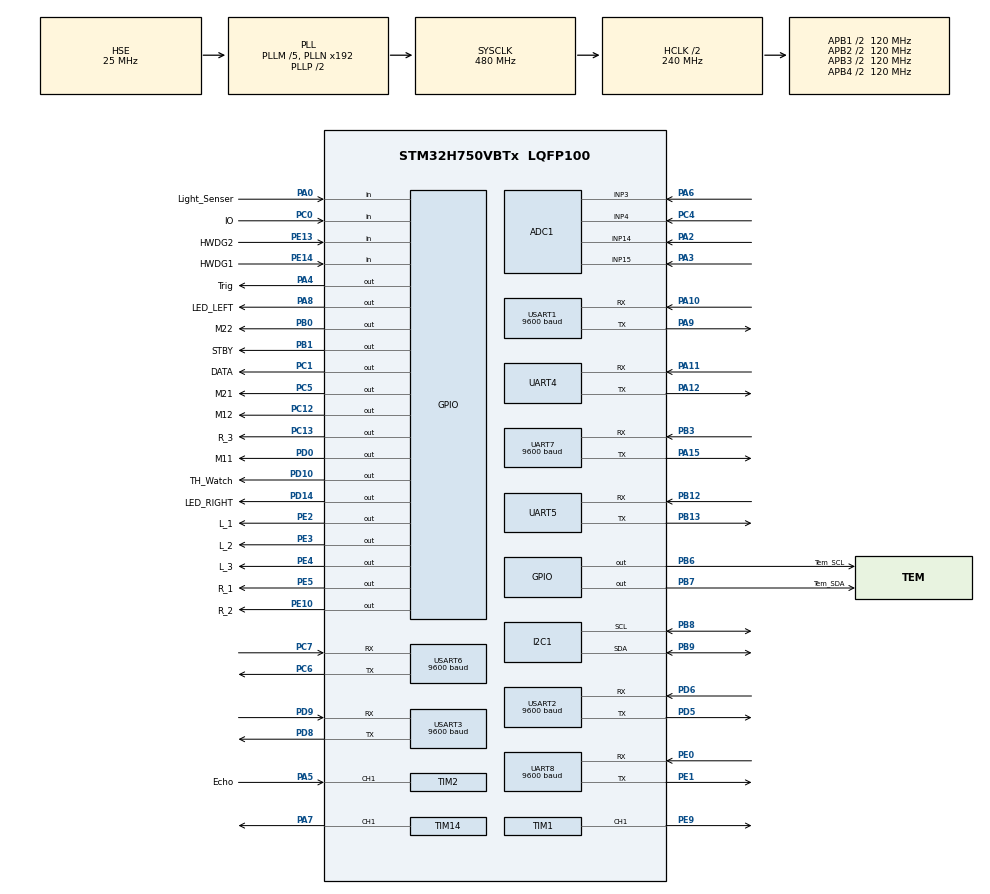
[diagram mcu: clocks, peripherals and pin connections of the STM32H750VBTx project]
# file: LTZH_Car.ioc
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ADC1.Channel-10\#ChannelRegularConversion=ADC_CHANNEL_4
ADC1.Channel-7\#ChannelRegularConversion=ADC_CHANNEL_14
ADC1.Channel-8\#ChannelRegularConversion=ADC_CHANNEL_15
ADC1.Channel-9\#ChannelRegularConversion=ADC_CHANNEL_3
ADC1.ClockPrescaler=ADC_CLOCK_ASYNC_DIV2
ADC1.ContinuousConvMode=ENABLE
ADC1.ConversionDataManagement=ADC_CONVERSIONDATA_DMA_CIRCULAR
ADC1.NbrOfConversion=4
ADC1.NbrOfConversionFlag=1
ADC1.OffsetNumber-10\#ChannelRegularConversion=ADC_OFFSET_NONE
ADC1.OffsetNumber-7\#ChannelRegularConversion=ADC_OFFSET_NONE
ADC1.OffsetNumber-8\#ChannelRegularConversion=ADC_OFFSET_NONE
ADC1.OffsetNumber-9\#ChannelRegularConversion=ADC_OFFSET_NONE
ADC1.OffsetSignedSaturation-10\#ChannelRegularConversion=DISABLE
ADC1.OffsetSignedSaturation-7\#ChannelRegularConversion=DISABLE
ADC1.OffsetSignedSaturation-8\#ChannelRegularConversion=DISABLE
ADC1.OffsetSignedSaturation-9\#ChannelRegularConversion=DISABLE
ADC1.Overrun=ADC_OVR_DATA_OVERWRITTEN
ADC1.Rank-10\#ChannelRegularConversion=4
ADC1.Rank-7\#ChannelRegularConversion=1
ADC1.Rank-8\#ChannelRegularConversion=2
ADC1.Rank-9\#ChannelRegularConversion=3
ADC1.SamplingTime-10\#ChannelRegularConversion=ADC_SAMPLETIME_32CYCLES_5
ADC1.SamplingTime-7\#ChannelRegularConversion=ADC_SAMPLETIME_32CYCLES_5
ADC1.SamplingTime-8\#ChannelRegularConversion=ADC_SAMPLETIME_32CYCLES_5
ADC1.SamplingTime-9\#ChannelRegularConversion=ADC_SAMPLETIME_32CYCLES_5
ADC1.master=1
CORTEX_M7.default_mode_Activation=1
Dma.ADC1.2.Direction=DMA_PERIPH_TO_MEMORY
Dma.ADC1.2.EventEnable=DISABLE
Dma.ADC1.2.FIFOMode=DMA_FIFOMODE_DISABLE
Dma.ADC1.2.Instance=DMA1_Stream0
Dma.ADC1.2.MemDataAlignment=DMA_MDATAALIGN_HALFWORD
Dma.ADC1.2.MemInc=DMA_MINC_ENABLE
Dma.ADC1.2.Mode=DMA_CIRCULAR
Dma.ADC1.2.PeriphDataAlignment=DMA_PDATAALIGN_HALFWORD
Dma.ADC1.2.PeriphInc=DMA_PINC_DISABLE
Dma.ADC1.2.Polarity=HAL_DMAMUX_REQ_GEN_RISING
Dma.ADC1.2.Priority=DMA_PRIORITY_LOW
Dma.ADC1.2.RequestNumber=1
Dma.ADC1.2.SignalID=NONE
Dma.ADC1.2.SyncEnable=DISABLE
Dma.ADC1.2.SyncPolarity=HAL_DMAMUX_SYNC_NO_EVENT
Dma.ADC1.2.SyncRequestNumber=1
Dma.ADC1.2.SyncSignalID=NONE
Dma.Request0=USART6_RX
Dma.Request1=UART5_RX
Dma.Request2=ADC1
Dma.UART5_RX.1.Direction=DMA_PERIPH_TO_MEMORY
Dma.UART5_RX.1.EventEnable=DISABLE
Dma.UART5_RX.1.FIFOMode=DMA_FIFOMODE_DISABLE
Dma.UART5_RX.1.Instance=DMA1_Stream1
Dma.UART5_RX.1.MemDataAlignment=DMA_MDATAALIGN_BYTE
Dma.UART5_RX.1.MemInc=DMA_MINC_ENABLE
Dma.UART5_RX.1.Mode=DMA_NORMAL
Dma.UART5_RX.1.PeriphDataAlignment=DMA_PDATAALIGN_BYTE
Dma.UART5_RX.1.PeriphInc=DMA_PINC_DISABLE
Dma.UART5_RX.1.Polarity=HAL_DMAMUX_REQ_GEN_RISING
Dma.UART5_RX.1.Priority=DMA_PRIORITY_LOW
Dma.UART5_RX.1.RequestNumber=1
Dma.UART5_RX.1.SignalID=NONE
Dma.UART5_RX.1.SyncEnable=DISABLE
Dma.UART5_RX.1.SyncPolarity=HAL_DMAMUX_SYNC_NO_EVENT
Dma.UART5_RX.1.SyncRequestNumber=1
Dma.UART5_RX.1.SyncSignalID=NONE
Dma.USART6_RX.0.Direction=DMA_PERIPH_TO_MEMORY
Dma.USART6_RX.0.EventEnable=DISABLE
Dma.USART6_RX.0.FIFOMode=DMA_FIFOMODE_DISABLE
Dma.USART6_RX.0.Instance=DMA1_Stream2
Dma.USART6_RX.0.MemDataAlignment=DMA_MDATAALIGN_BYTE
Dma.USART6_RX.0.MemInc=DMA_MINC_ENABLE
Dma.USART6_RX.0.Mode=DMA_NORMAL
Dma.USART6_RX.0.PeriphDataAlignment=DMA_PDATAALIGN_BYTE
Dma.USART6_RX.0.PeriphInc=DMA_PINC_DISABLE
Dma.USART6_RX.0.Polarity=HAL_DMAMUX_REQ_GEN_RISING
Dma.USART6_RX.0.Priority=DMA_PRIORITY_LOW
Dma.USART6_RX.0.RequestNumber=1
Dma.USART6_RX.0.SignalID=NONE
Dma.USART6_RX.0.SyncEnable=DISABLE
Dma.USART6_RX.0.SyncPolarity=HAL_DMAMUX_SYNC_NO_EVENT
Dma.USART6_RX.0.SyncRequestNumber=1
Dma.USART6_RX.0.SyncSignalID=NONE
I2C1.Timing=0x307075B1
Mcu.Family=STM32H7
Mcu.Name=STM32H750VBTx
Mcu.Package=LQFP100
NVIC.DMA1_Stream0_IRQn=true\:0\:0\:false\:false\:true\:false\:true\:true
NVIC.DMA1_Stream1_IRQn=true\:0\:0\:false\:false\:true\:false\:true\:true
NVIC.DMA1_Stream2_IRQn=true\:0\:0\:false\:false\:true\:false\:true\:true
NVIC.PriorityGroup=NVIC_PRIORITYGROUP_4
NVIC.TIM2_IRQn=true\:0\:0\:true\:false\:true\:true\:true\:true
NVIC.TIM8_UP_TIM13_IRQn=true\:0\:0\:false\:false\:true\:true\:true\:true
NVIC.UART4_IRQn=true\:5\:0\:true\:false\:true\:true\:true\:true
NVIC.UART5_IRQn=true\:6\:0\:true\:false\:true\:true\:true\:true
NVIC.UART7_IRQn=true\:0\:0\:true\:false\:true\:true\:true\:true
NVIC.UART8_IRQn=true\:1\:0\:true\:false\:true\:true\:true\:true
NVIC.USART1_IRQn=true\:4\:0\:true\:false\:true\:true\:true\:true
NVIC.USART3_IRQn=true\:3\:0\:true\:false\:true\:true\:true\:true
NVIC.USART6_IRQn=true\:2\:0\:true\:false\:true\:true\:true\:true
PA0.GPIO_Label=Light_Senser
PA0.GPIO_PuPd=GPIO_PULLDOWN
PA0.Signal=GPIO_Input
PA10.Mode=Asynchronous
PA10.Signal=USART1_RX
PA11.Mode=Asynchronous
PA11.Signal=UART4_RX
PA12.Mode=Asynchronous
PA12.Signal=UART4_TX
PA15\ (JTDI).Mode=Asynchronous
PA15\ (JTDI).Signal=UART7_TX
PA2.Signal=ADCx_INP14
PA3.Signal=ADCx_INP15
PA4.GPIO_Label=Trig
PA4.Signal=GPIO_Output
PA5.GPIO_Label=Echo
PA5.Signal=S_TIM2_CH1_ETR
PA6.Signal=ADCx_INP3
PA7.Signal=S_TIM14_CH1
PA8.GPIO_Label=LED_LEFT
PA8.PinState=GPIO_PIN_RESET
PA8.Signal=GPIO_Output
PA9.Mode=Asynchronous
PA9.Signal=USART1_TX
PB0.GPIO_Label=M22
PB0.Signal=GPIO_Output
PB1.GPIO_Label=STBY
PB1.PinState=GPIO_PIN_SET
PB1.Signal=GPIO_Output
PB12.Mode=Asynchronous
PB12.Signal=UART5_RX
PB13.Mode=Asynchronous
PB13.Signal=UART5_TX
PB3\ (JTDO/TRACESWO).Mode=Asynchronous
PB3\ (JTDO/TRACESWO).Signal=UART7_RX
PB6.GPIO_Label=Tem_SCL
PB6.GPIO_ModeDefaultOutputPP=GPIO_MODE_OUTPUT_OD
PB6.GPIO_PuPd=GPIO_PULLUP
PB6.GPIO_Speed=GPIO_SPEED_FREQ_HIGH
PB6.PinState=GPIO_PIN_RESET
PB6.Signal=GPIO_Output
PB7.GPIO_Label=Tem_SDA
PB7.GPIO_ModeDefaultOutputPP=GPIO_MODE_OUTPUT_OD
PB7.GPIO_PuPd=GPIO_PULLUP
PB7.GPIO_Speed=GPIO_SPEED_FREQ_HIGH
PB7.PinState=GPIO_PIN_RESET
PB7.Signal=GPIO_Output
PB8.Mode=I2C
PB8.Signal=I2C1_SCL
PB9.Mode=I2C
PB9.Signal=I2C1_SDA
PC0.GPIO_Label=IO
PC0.GPIO_PuPd=GPIO_PULLDOWN
PC0.Signal=GPIO_Input
PC1.GPIO_Label=DATA
PC1.Signal=GPIO_Output
PC12.GPIO_Label=M12
PC12.Signal=GPIO_Output
PC13.GPIO_Label=R_3
PC13.Signal=GPIO_Output
PC14-OSC32_IN\ (OSC32_IN).Mode=LSE-External-Oscillator
PC14-OSC32_IN\ (OSC32_IN).Signal=RCC_OSC32_IN
PC15-OSC32_OUT\ (OSC32_OUT).Mode=LSE-External-Oscillator
PC15-OSC32_OUT\ (OSC32_OUT).Signal=RCC_OSC32_OUT
PC4.Signal=ADCx_INP4
PC5.GPIO_Label=M21
PC5.PinState=GPIO_PIN_SET
PC5.Signal=GPIO_Output
PC6.Mode=Asynchronous
PC6.Signal=USART6_TX
PC7.Mode=Asynchronous
PC7.Signal=USART6_RX
PD0.GPIO_Label=M11
PD0.PinState=GPIO_PIN_SET
PD0.Signal=GPIO_Output
PD10.GPIO_Label=TH_Watch
PD10.PinState=GPIO_PIN_SET
PD10.Signal=GPIO_Output
PD14.GPIO_Label=LED_RIGHT
PD14.Signal=GPIO_Output
PD5.Mode=Asynchronous
PD5.Signal=USART2_TX
PD6.Mode=Asynchronous
PD6.Signal=USART2_RX
PD8.Mode=Asynchronous
PD8.Signal=USART3_TX
PD9.Mode=Asynchronous
PD9.Signal=USART3_RX
PE0.Mode=Asynchronous
PE0.Signal=UART8_RX
PE1.Mode=Asynchronous
PE1.Signal=UART8_TX
PE10.GPIO_Label=R_2
PE10.GPIO_ModeDefaultOutputPP=GPIO_MODE_OUTPUT_OD
PE10.GPIO_PuPd=GPIO_PULLUP
PE10.Signal=GPIO_Output
PE13.GPIO_Label=HWDG2
PE13.GPIO_PuPd=GPIO_PULLUP
PE13.Signal=GPIO_Input
PE14.GPIO_Label=HWDG1
PE14.GPIO_PuPd=GPIO_PULLUP
PE14.Signal=GPIO_Input
PE2.GPIO_Label=L_1
PE2.GPIO_ModeDefaultOutputPP=GPIO_MODE_OUTPUT_OD
PE2.GPIO_PuPd=GPIO_PULLUP
PE2.GPIO_Speed=GPIO_SPEED_FREQ_LOW
PE2.PinState=GPIO_PIN_RESET
PE2.Signal=GPIO_Output
PE3.GPIO_Label=L_2
PE3.GPIO_ModeDefaultOutputPP=GPIO_MODE_OUTPUT_OD
PE3.GPIO_PuPd=GPIO_PULLUP
PE3.GPIO_Speed=GPIO_SPEED_FREQ_LOW
PE3.PinState=GPIO_PIN_RESET
PE3.Signal=GPIO_Output
PE4.GPIO_Label=L_3
PE4.GPIO_ModeDefaultOutputPP=GPIO_MODE_OUTPUT_OD
PE4.GPIO_PuPd=GPIO_PULLUP
PE4.GPIO_Speed=GPIO_SPEED_FREQ_LOW
PE4.PinState=GPIO_PIN_RESET
PE4.Signal=GPIO_Output
PE5.GPIO_Label=R_1
PE5.GPIO_ModeDefaultOutputPP=GPIO_MODE_OUTPUT_OD
PE5.GPIO_PuPd=GPIO_PULLUP
PE5.GPIO_Speed=GPIO_SPEED_FREQ_LOW
PE5.PinState=GPIO_PIN_RESET
PE5.Signal=GPIO_Output
PE9.Signal=S_TIM1_CH1
PH0-OSC_IN\ (PH0).Mode=HSE-External-Oscillator
PH0-OSC_IN\ (PH0).Signal=RCC_OSC_IN
PH1-OSC_OUT\ (PH1).Mode=HSE-External-Oscillator
PH1-OSC_OUT\ (PH1).Signal=RCC_OSC_OUT
ProjectManager.HeapSize=0x200
ProjectManager.StackSize=0x400
ProjectManager.TargetToolchain=MDK-ARM V5.32
RCC.ADCCLockSelection=RCC_ADCCLKSOURCE_CLKP
RCC.ADCFreq_Value=64000000
RCC.APB1Freq_Value=120000000
RCC.APB2Freq_Value=120000000
RCC.APB3Freq_Value=120000000
RCC.APB4Freq_Value=120000000
RCC.CortexFreq_Value=480000000
RCC.D1PPRE=RCC_APB3_DIV2
RCC.D2PPRE1=RCC_APB1_DIV2
RCC.D2PPRE2=RCC_APB2_DIV2
RCC.D3PPRE=RCC_APB4_DIV2
RCC.DIVM1=5
RCC.DIVM2=2
RCC.DIVN1=192
RCC.DIVN2=12
RCC.HCLKFreq_Value=240000000
RCC.HPRE=RCC_HCLK_DIV2
RCC.HSE_VALUE=25000000
RCC.PLL2FRACN=0
RCC.PLL3_VCI_Range-AdvancedSettings=RCC_PLL3VCIRANGE_0
RCC.PLL3_VCO_SEL-AdvancedSettings=RCC_PLL3VCOMEDIUM
RCC.PLLFRACN=0
RCC.PLLSourceVirtual=RCC_PLLSOURCE_HSE
RCC.SYSCLKFreq_VALUE=480000000
RCC.SYSCLKSource=RCC_SYSCLKSOURCE_PLLCLK
RCC.USBFreq_Value=480000000
SH.ADCx_INP14.0=ADC1_INP14,IN14-Single-Ended
SH.ADCx_INP15.0=ADC1_INP15,IN15-Single-Ended
SH.ADCx_INP3.0=ADC1_INP3,IN3-Single-Ended
SH.ADCx_INP4.0=ADC1_INP4,IN4-Single-Ended
SH.S_TIM14_CH1.0=TIM14_CH1,PWM Generation1 CH1
SH.S_TIM1_CH1.0=TIM1_CH1,PWM Generation1 CH1
SH.S_TIM2_CH1_ETR.0=TIM2_CH1,Input_Capture1_from_TI1
TIM1.Channel-PWM\ Generation1\ CH1=TIM_CHANNEL_1
TIM1.Period=999
TIM1.Prescaler=240-1
TIM1.Pulse-PWM\ Generation1\ CH1=500
TIM13.Period=1000-1
TIM13.Prescaler=24000-1
TIM14.Channel=TIM_CHANNEL_1
TIM14.Period=999
TIM14.Prescaler=240-1
TIM14.Pulse=500
TIM2.Channel-Input_Capture1_from_TI1=TIM_CHANNEL_1
TIM2.Channel-Input_Capture2_from_TI1_63=TIM_CHANNEL_2
TIM2.ICPolarity_CH2=TIM_INPUTCHANNELPOLARITY_FALLING
TIM2.Prescaler=240-1
UART7.BaudRate=9600
UART8.BaudRate=9600
USART1.BaudRate=9600
USART1.VirtualMode-Asynchronous=VM_ASYNC
USART2.BaudRate=9600
USART2.VirtualMode-Asynchronous=VM_ASYNC
USART3.BaudRate=9600
USART3.VirtualMode-Asynchronous=VM_ASYNC
USART6.BaudRate=9600
USART6.VirtualMode=VM_ASYNC
VP_MEMORYMAP_VS_MEMORYMAP.Mode=CurAppReg
VP_TIM13_VS_ClockSourceINT.Mode=Enable_Timer
VP_TIM14_VS_ClockSourceINT.Mode=Enable_Timer
VP_TIM1_VS_ClockSourceINT.Mode=Internal
VP_TIM2_VS_ClockSourceINT.Mode=Internal
VP_TIM2_VS_indirect_ch1.Mode=Input_Capture2_from_TI1_63
board=custom

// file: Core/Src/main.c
/* USER CODE BEGIN Header */
/**
  ******************************************************************************
  * @file           : main.c
  * @brief          : Main program body
  ******************************************************************************
  * @attention
  *
  * Copyright (c) 2024 STMicroelectronics.
  * All rights reserved.
  *
  * This software is licensed under terms that can be found in the LICENSE file
  * in the root directory of this software component.
  * If no LICENSE file comes with this software, it is provided AS-IS.
  *
  ******************************************************************************
  */
/* USER CODE END Header */
#include "main.h"
#include "adc.h"
#include "dma.h"
#include "i2c.h"
#include "memorymap.h"
#include "tim.h"
#include "usart.h"
#include "gpio.h"

/* USER CODE BEGIN Includes */
#include "hc_sr04.h"
#include "led.h"
#include "Moter.h"
#include "dht11.h"
#include "jy901s.h"
#include "stdio.h"
#include "string.h"
#include "math.h"
#include "PID.h"
#include "delay.h"
#include "HW.h"
#include "Transmit_Mv.h"
#include "jy906.h"
#include "headfile.h"
#include "vl53l0.h"
#include "Voice.h"
#include "sim800c.h"
/* USER CODE END Includes */

/* USER CODE BEGIN PV */
//激光测距
uint8_t L=0;
uint8_t R=0;
uint8_t previous_L=0;
uint8_t previous_R=0;
uint8_t Ahead_irSensor=1;
uint8_t Ahead_irSensor_Time=0;
//超声波模块
int upEdge=0;
int downEdge=0;
float distance=0;
uint8_t stop=1 ;
uint8_t hc=0;
//温湿度模块
uint8_t temperature = 1;
uint8_t humidity = 1;
uint8_t temperature_xs = 1;
uint8_t data_T=0;
uint8_t data_H=0;
//定时器
uint8_t cnt;
uint8_t cnt_trans;
uint8_t cnt2;
uint8_t cnt4;
//陀螺仪
float previous;
float setpoint;
float Initial_trend;
float Target_trend;
uint8_t frame1 = 0xFF;
uint8_t frame2 = 0xAA;
uint8_t delta = 0;
uint8_t voice_broadcast=1;
float PidOut1=0.00f;
float Pid_Out1=0.00f;
float Pid_Out2=0.00f;
uint8_t up=0;
//语音模块
uint8_t data;
uint8_t Voice[5]={0xAA, 0x55, 0x00, 0x55, 0xAA};
uint8_t vioce_turn=0;
//蓝牙模块
uint8_t Data=0;
uint16_t moter=300;
//Mv
uint8_t data4=0;         //修正
uint8_t data5=0;
uint8_t Way_Left=0;
uint8_t Way_Right=0;

uint8_t Left_Way=0;      //路况
uint8_t Right_Way=0;
uint8_t On_Nway=0;
uint8_t Left_Nway=0;
uint8_t Right_Nway=0;
uint8_t On_Stairs=0;
uint8_t Left_Stairs=0;
uint8_t Right_Stairs=0;
uint8_t On_Line=0;
uint8_t Left_Line=0;
uint8_t Right_Line=0;
uint8_t Green=0;
uint8_t Red=0;

uint8_t Observe=0;                             //通信
uint8_t mv_go[1]={0x01};
uint8_t hc_stop[1]={0x02};
uint8_t mv_lead[1]={0x03};
uint8_t mv_rescue[1]={0x04};
uint8_t mv_observe[1]={0x05};
uint8_t mv_close[1]={0x06};
uint8_t mv_open[1]={0x07};
uint8_t mv_observe_way[1]={0x08};
uint8_t mv_light_on[1]={0x09};
uint8_t mv_light_off[1]={0x0A};
uint8_t mv_left[1]={0x0B};
uint8_t mv_right[1]={0x0C};
uint8_t mv_up[1]={0x0D};
uint8_t mv_down[1]={0x0E};
uint8_t mv_stop[1]={0x0F};
uint8_t mv_middle[1]={0xA0};
//ESP32
uint8_t data_esp;
uint8_t Rx_esp[1];
//LED
uint8_t led_state;
uint8_t led_count;
uint8_t Dance;
char str[100];
//声源检测
uint16_t AD_Value[4];
uint8_t voice=0;
//激光测距
uint32_t millis(void);
volatile uint32_t sysTickUptime = 0;
int L1 = 0,     L2 = 0,     L3 = 0,     R1 = 0,     R2 = 0,     R3 = 0;
int L1_ = 0,    L2_ = 0,    L3_ = 0,    R1_ = 0,    R2_ = 0,    R3_ = 0,   L3__=0,   R3__=0;
int p_L1_ = 0,  p_L2_ = 0,  p_L3_ = 0,  p_R1_ = 0,  p_R2_ = 0,  p_R3_ = 0;
int Target_Distance = 0;
double previous_error = 0;
int min_L3 = 150;
int min_R3 = 150;
//临时写死
uint8_t cnt_start_go=0;//pid转向前进
uint8_t cnt_start_go_=0;
uint8_t cnt_start_goline=0;//右转观察型号灯
uint8_t cnt_start_goline_=0;
uint8_t go_pid1=0;//pid绕行强制前进
uint8_t go_pid1_=0;
uint8_t go_pid2=0;//pid绕行强制前进
uint8_t go_pid2_=0;
uint8_t rescue=0;//救援模式
uint8_t Senser_led=0;//补光灯开启状态
uint8_t light_cnt=0;//补光灯
uint8_t cnt_start_l=0;//左绕行
uint8_t cnt_start_l_=0;
uint8_t cnt_start_r=0;//右绕行
uint8_t cnt_start_r_=0;
uint8_t ESP_Right_Way=0;
uint8_t ESP_Left_Stairs=0;
uint8_t ESP_Right_Line=0;
uint8_t ESP_On_Line=0;
uint8_t ESP_Red=0;
uint8_t ESP_Green=0;
/* USER CODE END PV */

void SystemClock_Config(void);
void PeriphCommonClock_Config(void);
static void MPU_Config(void);

/* USER CODE BEGIN 0 */
//超声波
void HAL_TIM_IC_CaptureCallback(TIM_HandleTypeDef *htim){
	if (htim == &htim2 && htim->Channel == HAL_TIM_ACTIVE_CHANNEL_2) {
		upEdge = HAL_TIM_ReadCapturedValue(htim, TIM_CHANNEL_1);
		downEdge = HAL_TIM_ReadCapturedValue(htim, TIM_CHANNEL_2);
		distance = ((downEdge - upEdge) * 0.034) / 2;
	}
}

//语音+蓝牙+陀螺仪
void HAL_UART_RxCpltCallback(UART_HandleTypeDef *huart){
//语音
	if(huart==&huart8){//前进
		if(data==0x01) {
			Moter_Go();
			LED_OFF();
			HAL_UART_Transmit(&huart1, mv_go, 1, 200);
			stop=0;
		}

		if(data==0x02){//后退
          Moter_Back();
		}
		if(data==0x03){//停
			Moter_Stop();
			stop=1;
			LED_OFF();
		}
		if(data==0x04){//右转
			previous = jy901_Angle.Angle[2];
			setpoint = previous-90;
			vioce_turn=1;
			Pid_init();
		}
		if(data==0x05){//左转
			previous = jy901_Angle.Angle[2];
			setpoint = previous+90;
			vioce_turn=1;
			Pid_init();
		}
		if(data==0x06){//温湿度
			Speech_dht11();
		}
		if(data==0x07){//导盲模式
			Data=0;
			HAL_UART_Transmit(&huart1, mv_lead, 1, 200);
			HAL_UART_Transmit(&huart3, mv_lead, 1, 200);
			rescue=0;
		}
		if(data==0x08){//救援模式
			Moter_Stop();
			stop=1;
			LED_OFF();
			HAL_UART_Transmit(&huart1, mv_rescue, 1, 200);
			HAL_UART_Transmit(&huart3, mv_rescue, 1, 200);
			rescue=1;
		}
		if(data==0x09){//观察信号灯情况
			Green=0;
            Red=0;
			HAL_UART_Transmit(&huart1, mv_observe, 1, 200);
		}
		if(data==0x0A){//向左绕行
			Initial_trend=jy901_Angle.Angle[2];
		}
		if(data==0x0B){//向右绕行
			Initial_trend=jy901_Angle.Angle[2];
		}
		if(data==0x0C){//观察路况
			Left_Way=0;
            Right_Way=0;
            On_Nway=0;
            Left_Nway=0;
            Right_Nway=0;
            On_Stairs=0;
            Left_Stairs=0;
            Right_Stairs=0;
			On_Line=0;
			Left_Line=0;
			Right_Line=0;
			HAL_UART_Transmit(&huart1, mv_go, 1, 200);
			HAL_UART_Transmit(&huart3, mv_go, 1, 200);
			HAL_UART_Transmit(&huart1, mv_observe_way, 1, 200);
			Observe=1;
		}
		HAL_UART_Receive_IT(&huart8, &data, 1);
	}
//蓝牙
	if(huart==&huart6){
		if(Data==0x01){
			Moter_Go_(moter-200);
//			Moter_Go();
			stop=0;
		}
		if(Data==0x02){
			Moter_Back_(moter-200);
		}
		if(Data==0x03){
			Moter_Stop();
			stop=1;
			LED_OFF();
		}
		if(Data==0x04){
			Moter_Left_(moter);
			LED_LEFT_ON();
		}
		if(Data==0x05){
			Moter_Right_(moter);
			LED_RIGHT_ON();
		}
		if(Data==0x06)moter=300;

		if(Data==0x07)moter=350;

		if(Data==0x08)moter=400;

		if(Data==0x09)moter=450;

		if(Data==0x0A){//左
			HAL_UART_Transmit(&huart1, mv_left, 1, 200);
			HAL_UART_Transmit(&huart3, mv_left, 1, 200);
		}
		if(Data==0x0B){//右
			HAL_UART_Transmit(&huart1, mv_right, 1, 200);
			HAL_UART_Transmit(&huart3, mv_right, 1, 200);
		}
		if(Data==0x0C){//上
			HAL_UART_Transmit(&huart1, mv_up, 1, 200);
			HAL_UART_Transmit(&huart3, mv_up, 1, 200);
		}
		if(Data==0x0D){//下
			HAL_UART_Transmit(&huart1, mv_down, 1, 200);
			HAL_UART_Transmit(&huart3, mv_down, 1, 200);
		}
		if(Data==0x0E){//停
			HAL_UART_Transmit(&huart1, mv_stop, 1, 200);
			HAL_UART_Transmit(&huart3, mv_stop, 1, 200);
		}
		if(Data==0x0F){//中
			HAL_UART_Transmit(&huart1, mv_middle, 1, 200);
			HAL_UART_Transmit(&huart3, mv_middle, 1, 200);
		}
		HAL_UART_Receive_IT(&huart6, &Data, 1);
	}
//陀螺仪
	if(huart==&huart7){
		receive_complete_flag = 1;
		HAL_UART_Receive_IT(&huart7,(uint8_t*)receive_buff,USART_RECEIVE_LENGTH);
	}
//MV
	if (huart==&huart1&&(Data==0x03||Data==0)){
		if(jy901_Angle.Angle[1]<=7&&data4==0x47&&stop==0&&L==0&&R==0&&data!=0x04&&data!=0x05&&data!=0x02){		//绕行不修正，逼退不修正
			Moter_Go();
		}
		if(jy901_Angle.Angle[1]<=7&&data4==0x6C&&stop==0&&L==0&&R==0&&data!=0x04&&data!=0x05&&data!=0x02&&R1>300){		//左偏
            Moter_Right();
        }
        else if(jy901_Angle.Angle[1]<=7&&data4==0x4C&&stop==0&&L==0&&R==0&&data!=0x04&&data!=0x05&&data!=0x02&&R1>300){	//航线左偏
            Mv_Moter_Right();
//			Mv_Moter_Right_();
        }
        if(jy901_Angle.Angle[1]<=7&&data4==0x72&&stop==0&&stop==0&&L==0&&R==0&&data!=0x04&&data!=0x05&&data!=0x02&&R1>300){		//右偏
            Moter_Left();
        }
        else if(jy901_Angle.Angle[1]<=7&&data4==0x52&&stop==0&&stop==0&&L==0&&R==0&&data!=0x04&&data!=0x05&&data!=0x02&&R1>300){	//航线右偏
            Mv_Moter_Left();
//			Mv_Moter_Left_();
        }
        if(data4==0x77){								//前方可通行
            Voice_Broadcast(0x0A);
        }
        if(data4==0x4B&&On_Nway==0){					//前方不可通行
            Voice_Broadcast(0x17);
            On_Nway=1;
        }
        if(data4==0x55&&On_Stairs==0){					//前面有楼梯
            Voice_Broadcast(0x16);
            On_Stairs=1;
        }
        if(data4==0x41&&On_Line==0){					//前面有斑马线
            Voice_Broadcast(0x15);
			ESP_On_Line=1;
            On_Line=1;
        }
        if(data4==0x45&&Red==0){                        //红灯停
            Moter_Stop();
            Voice_Broadcast(0x09);
			ESP_Red=1;
            stop=1;
            Red=1;
        }
        if(data4==0x46&&Green==0){						//绿灯行
            Voice_Broadcast(0x0A);
			ESP_Green=1;
            Green=1;
			data=0x01;
			Moter_Go();
			LED_OFF();
			HAL_UART_Transmit(&huart1, mv_go, 1, 200);
			HAL_UART_Transmit(&huart3, mv_go, 1, 200);
			stop=0;
        }
        HAL_UART_Receive_IT(&huart1,&data4,1);
	}
	if (huart==&huart3){
		if(data5==0x71&&Left_Way==0){					//左边可通行
            Voice_Broadcast(0x11);
            Left_Way=1;
			L=0;
			R=0;
        }
        if(data5==0x51&&Right_Way==0){					//右边可通行
			ESP_Right_Way=1;
			Voice_Broadcast(0x07);
            Right_Way=1;
			L=0;
			R=0;
        }
        if(Left_Stairs==0&&data5==0x56&&Left_Nway==0){	//左边不可通行
//            Voice_Broadcast(0x0B);
            Left_Nway=1;
        }
        if(data5==0x76&&Right_Nway==0){					//右边不可通行
//            Voice_Broadcast(0x14);
            Right_Nway=1;
        }
        if(data5==0x53&&Left_Stairs==0){				//左边有楼梯
            Voice_Broadcast(0x06);
			ESP_Left_Stairs=1;
            Left_Stairs=1;
        }
        if(data5==0x54&&Right_Stairs==0){				//右边有楼梯
            Voice_Broadcast(0x13);
            Right_Stairs=1;
        }
        if(data5==0x44&&Left_Line==0){					//左边有斑马线
            Voice_Broadcast(0x12);
            Left_Line=1;
        }
        if(data5==0x5A&&Right_Line==0){					//右边有斑马线
            Voice_Broadcast(0x08);
			ESP_Right_Line=1;
            Right_Line=1;
        }
//		if((Left_Stairs==1&&Right_Nway==1)||(Left_Nway==1&&Right_Nway==1)){
//			Voice_Broadcast(0x21);						//未检测到可通行道路
//		}
        HAL_UART_Receive_IT(&huart3,&data5,1);
  }
//ESP32
	if (huart==&huart4){
//		if (Rx_esp[0] == 'a'){							//导盲模式
//			Data=0;
//			HAL_UART_Transmit(&huart1, mv_lead, 1, 200);
//			HAL_UART_Transmit(&huart3, mv_lead, 1, 200);
//			rescue=0;
//		}
//		if (Rx_esp[0] == 'b'){							//救援模式
//			Moter_Stop();
//			stop=1;
//			LED_OFF();
//			HAL_UART_Transmit(&huart1, mv_rescue, 1, 200);
//			HAL_UART_Transmit(&huart3, mv_rescue, 1, 200);
//			rescue=1;
//		}
//		if (Rx_esp[0] == 0x41){							//前进
//			data=0x01;
//			Moter_Go();
//			LED_OFF();
//			HAL_UART_Transmit(&huart1, mv_go, 1, 200);
//			HAL_UART_Transmit(&huart3, mv_go, 1, 200);
//			stop=0;
//		}
//		if (Rx_esp[0] == 'B'){							//后退
//			data=0x02;
//			Moter_Back();
//		}
//		if (Rx_esp[0] == 'C'){							//左转
//			data=0x05;
//			previous = jy901_Angle.Angle[2];
//			setpoint = previous+90;
//			vioce_turn=1;
//			Pid_init();
//		}
//		if (Rx_esp[0] == 'D'){							//右转
//			data=0x04;
//			previous = jy901_Angle.Angle[2];
//			setpoint = previous-90;
//			vioce_turn=1;
//			Pid_init();
//		}
//		if (Rx_esp[0] == 'E'){							//停车
//			data=0x03;
//			Moter_Stop();
//			stop=1;
//			LED_OFF();
//		}
		if (Rx_esp[0] == 'F'){							//跳舞
			data=0x03;
			stop=1;
			Moter_Stop();
			LED_OFF();
			Dance=1;
			led_count=1;
		}
		if (Rx_esp[0] == 'G'){							//灯光秀
			led_count=1;
		}
//		if (Rx_esp[0] == 'H'){							//左绕行
//			data=0x0A;
//			Initial_trend=jy901_Angle.Angle[2];
//		}
//		if (Rx_esp[0] == 'I'){							//右绕行
//			data=0x0B;
//			Initial_trend=jy901_Angle.Angle[2];
//		}
//		if (Rx_esp[0] == 'K'){							//向右通行
//            Right_Way=1;
//		}
//		if (Rx_esp[0] == 'L'){							//前面有斑马线，观察并向前方通行
//            On_Line=1;
//		}
//		if (Rx_esp[0] == 'M'){							//右边有斑马线，观察并向右通行
//            Right_Line=1;
//		}
		memset(Rx_esp, 0, 1);
		HAL_UART_Receive_IT(&huart4, Rx_esp, 1);
	}
}

//0.1s定时器
void HAL_TIM_PeriodElapsedCallback(TIM_HandleTypeDef *htim){
    if (htim == (&htim13)){
		cnt++;																				//陀螺仪刷新率
        cnt_trans++;																		//MV数据流刷新率

		if(Ahead_irSensor_Time==1)cnt4++;													//逼退
		if((Right_Way==1||Right_Line==1)&&On_Line==0){										//右边有盲道或斑马线且无盲道时延时并右转，否则不执行
            cnt2++;
        }
		if(Observe%2==1){																	//观察路况
            Observe+=2;
            if(Observe>=51){Observe=0;HAL_UART_Transmit(&huart3, mv_observe_way, 1, 200);}
        }
        if(!HAL_GPIO_ReadPin(GPIOE, GPIO_PIN_14)&&Ahead_irSensor%2==0&&Ahead_irSensor!=0){	//避障，过斑马线，盲道上1.5秒后开红外对管  Ahead_irSensor!=0（完全关红外）
            Ahead_irSensor+=2;
            if(Ahead_irSensor==24){
                Ahead_irSensor=1;
            }
        }
        else if(HAL_GPIO_ReadPin(GPIOE, GPIO_PIN_14)&&Ahead_irSensor!=1&&Ahead_irSensor!=0){
            Ahead_irSensor=2;
        }

        if (led_count%2==1){																//灯光秀
            if(!led_state){
                LED_OFF();
                LED_LEFT_ON();
                led_state = 1;
            }
            else if(led_state){
                LED_OFF();
                LED_RIGHT_ON();
                led_state = 0;
            }
            led_count+=2;
            if (led_count >= 101){led_count=0;LED_OFF();}
        }
		if(Dance%2==1){																		//跳舞
            Dance+=2;
            if(Dance>=65){Moter_Stop();Dance=0;}

            else if(Dance>=57)Moter_Left();

            else if(Dance>=47)Moter_Stop();

            else if(Dance>=39)Moter_Right();

            else if(Dance>=29)Moter_Stop();

            else if(Dance>=21)Moter_Right();

            else if(Dance>=11)Moter_Stop();

            else if(Dance>=1)Moter_Left();

        }
		if(cnt_start_go==1){
			cnt_start_go_++;
		}
		else if(cnt_start_goline==1){
			cnt_start_goline_++;
		}
		if(go_pid1==1){
			go_pid1_++;
		}
		else if(go_pid2==1){
			go_pid2_++;
		}
		if(cnt_start_l==1){
			cnt_start_l_++;
		}
		else if(cnt_start_r==1){
			cnt_start_r_++;
		}
    }
}
/* USER CODE END 0 */

int main(void)
{

  /* MPU Configuration--------------------------------------------------------*/
  MPU_Config();

  /* MCU Configuration--------------------------------------------------------*/

  /* Reset of all peripherals, Initializes the Flash interface and the Systick. */
  HAL_Init();

  /* Configure the system clock */
  SystemClock_Config();

  /* Configure the peripherals common clocks */
  PeriphCommonClock_Config();

  /* USER CODE BEGIN SysInit */
		delay_init(240);
        HAL_Delay(2000);

  /* USER CODE END SysInit */

  /* Initialize all configured peripherals */
  MX_GPIO_Init();
  MX_DMA_Init();
  MX_TIM1_Init();
  MX_TIM2_Init();
  MX_TIM14_Init();
  MX_UART8_Init();
  MX_USART6_UART_Init();
  MX_UART7_Init();
  MX_TIM13_Init();
  MX_USART1_UART_Init();
  MX_USART3_UART_Init();
  MX_UART4_Init();
  MX_UART5_Init();
  MX_ADC1_Init();
  MX_I2C1_Init();
  MX_USART2_UART_Init();
  /* USER CODE BEGIN 2 */

//超声波
    HAL_TIM_Base_Start(&htim2);
    HAL_TIM_IC_Start(&htim2, TIM_CHANNEL_1);
    HAL_TIM_IC_Start_IT(&htim2, TIM_CHANNEL_2);
//语音
    HAL_UART_Receive_IT(&huart8, &data,1);
//蓝牙
    HAL_UART_Receive_IT(&huart6, &Data,1);
	Start_Recv();
//陀螺仪
  	HAL_TIM_Base_Start_IT(&htim13);
	HAL_UART_Receive_IT(&huart7,(uint8_t*)receive_buff,USART_RECEIVE_LENGTH);
	vJY901S_Send_Command(KEY,0x88,0xB5);
	HAL_Delay(200);
	vJY901S_Send_Command(CALSW,0x08,0x00);
	vJY901S_Send_Command(GYROCALITHR,0x01,0x00);
	vJY901S_Send_Command(CALSW,0x04,0x00);
	HAL_Delay(1000);
	vJY901S_Send_Command(SAVE,0x00,0x00);
//Mv
    HAL_UART_Receive_IT(&huart1,&data4,1);
    HAL_UART_Receive_IT(&huart3,&data5,1);
//ESP32
    HAL_UART_Receive_IT(&huart4, Rx_esp, 1);
//激光测距
	Tof_Init();
//声源检测
	HAL_ADCEx_Calibration_Start(&hadc1,ADC_CALIB_OFFSET_LINEARITY,ADC_SINGLE_ENDED);
	HAL_ADC_Start_DMA(&hadc1, (uint32_t*)AD_Value, 4);
  /* USER CODE END 2 */

  /* Infinite loop */
  /* USER CODE BEGIN WHILE */
  DHT11_Rst();
  ESP8266_Setmode(2);
  ESP8266_Set_Wifi();
  ESP8266_Set_TCP();
  Voice_Broadcast(0x0D);
  while (1)
  {
	Obstacle_avoid();						//自动避障
	Distance_detect();						//超声波测距播报
	Control_jy901s();						//陀螺仪控制
	Mv_All();								//视频流传输
	Brightness_Senser();					//照明灯控制
	Way_detect();                          	//逼停
	Temperature_measure();                 	//测温播报
	Humidity_measure();						//湿度播报
	Voice_Detect();							//声源检测
	if(cnt_start_go_>15)//pid直角转向后，强制前进
	{
		cnt_start_go=0;
		cnt_start_go_=0;
		Moter_Go();
        LED_OFF();
        HAL_UART_Transmit(&huart1, mv_go, 1, 200);
        stop=0;
        Right_Way=0;
        data=0x01;
	}
	if(cnt_start_goline_>15){//pid直角转向后，强制观察信号灯
		cnt_start_goline=0;
		cnt_start_goline_=0;
		Moter_Stop();
        LED_OFF();
        HAL_UART_Transmit(&huart1, mv_go, 1, 200);
        stop=1;
        Right_Line=3;
        data=0x03;
		Green=0;
        Red=0;
		HAL_UART_Transmit(&huart1, mv_observe, 1, 200);
		Voice_Broadcast(0x20);
		ESP8266_Send_ESP32("8",100);
	}
	if(go_pid1_>10){//pid绕行强制前进
		go_pid1=0;
		go_pid1_=0;
		if(L==3){
			L=4;
            Moter_Go();
            LED_OFF();
            if(Ahead_irSensor==1)HAL_UART_Transmit(&huart1, mv_open, 1, 200);
            stop=0;
            data=0x01;
			Ahead_irSensor=2;
		}
		if(R==3){
			R=4;
            Moter_Go();
            LED_OFF();
            if(Ahead_irSensor==1)HAL_UART_Transmit(&huart1, mv_open, 1, 200);
            stop=0;
            data=0x01;
            Pid_init();
			Ahead_irSensor=2;
		}
	}
	if(go_pid2_>10){//pid绕行强制前进
		go_pid2=0;
		go_pid2_=0;
		L=0;
		R=0;
		ESP8266_Send_ESP32("15",100);
        Moter_Go();
        LED_OFF();
        if(Ahead_irSensor==1)HAL_UART_Transmit(&huart1, mv_open, 1, 200);
        stop=0;
        data=0x01;
	}
	if(cnt_start_l_>20){
		if(L==0){
			cnt_start_l=0;
			cnt_start_l_=0;
			data=0x0B;
			Initial_trend=jy901_Angle.Angle[2];
		}
		else{
			cnt_start_r=0;
			cnt_start_r_=0;
		}
	}
	else if(cnt_start_r_>20){
		if(R==0){
			cnt_start_r=0;
			cnt_start_r_=0;
			data=0x0A;
			Initial_trend=jy901_Angle.Angle[2];
		}
		else{
			cnt_start_r=0;
			cnt_start_r_=0;
		}
	}
	if(ESP_Right_Way){
		ESP8266_Send_ESP32("4",100);
		ESP_Right_Way=0;
	}
	if(ESP_Left_Stairs){
		ESP8266_Send_ESP32("5",100);
		ESP_Left_Stairs=0;
	}
	if(ESP_Right_Line){
		ESP8266_Send_ESP32("6",100);
		ESP_Right_Line=0;
	}
	if(ESP_On_Line){
		ESP8266_Send_ESP32("7",100);
		ESP_On_Line=0;
	}
	if(ESP_Red){
		ESP8266_Send_ESP32("A",100);
		ESP_Red=0;
	}
	if(ESP_Green){
		ESP8266_Send_ESP32("9",100);
		ESP_Green=0;
	}
    /* USER CODE END WHILE */

  }
}

void SystemClock_Config(void)
{
  RCC_OscInitTypeDef RCC_OscInitStruct = {0};
  RCC_ClkInitTypeDef RCC_ClkInitStruct = {0};

  /** Supply configuration update enable
  */
  HAL_PWREx_ConfigSupply(PWR_LDO_SUPPLY);

  /** Configure the main internal regulator output voltage
  */
  __HAL_PWR_VOLTAGESCALING_CONFIG(PWR_REGULATOR_VOLTAGE_SCALE1);

  while(!__HAL_PWR_GET_FLAG(PWR_FLAG_VOSRDY)) {}

  __HAL_RCC_SYSCFG_CLK_ENABLE();
  __HAL_PWR_VOLTAGESCALING_CONFIG(PWR_REGULATOR_VOLTAGE_SCALE0);

  while(!__HAL_PWR_GET_FLAG(PWR_FLAG_VOSRDY)) {}

  /** Initializes the RCC Oscillators according to the specified parameters
  * in the RCC_OscInitTypeDef structure.
  */
  RCC_OscInitStruct.OscillatorType = RCC_OSCILLATORTYPE_HSI|RCC_OSCILLATORTYPE_HSE;
  RCC_OscInitStruct.HSEState = RCC_HSE_ON;
  RCC_OscInitStruct.HSIState = RCC_HSI_DIV1;
  RCC_OscInitStruct.HSICalibrationValue = RCC_HSICALIBRATION_DEFAULT;
  RCC_OscInitStruct.PLL.PLLState = RCC_PLL_ON;
  RCC_OscInitStruct.PLL.PLLSource = RCC_PLLSOURCE_HSE;
  RCC_OscInitStruct.PLL.PLLM = 5;
  RCC_OscInitStruct.PLL.PLLN = 192;
  RCC_OscInitStruct.PLL.PLLP = 2;
  RCC_OscInitStruct.PLL.PLLQ = 2;
  RCC_OscInitStruct.PLL.PLLR = 2;
  RCC_OscInitStruct.PLL.PLLRGE = RCC_PLL1VCIRANGE_2;
  RCC_OscInitStruct.PLL.PLLVCOSEL = RCC_PLL1VCOWIDE;
  RCC_OscInitStruct.PLL.PLLFRACN = 0;
  if (HAL_RCC_OscConfig(&RCC_OscInitStruct) != HAL_OK)
  {
    Error_Handler();
  }

  /** Initializes the CPU, AHB and APB buses clocks
  */
  RCC_ClkInitStruct.ClockType = RCC_CLOCKTYPE_HCLK|RCC_CLOCKTYPE_SYSCLK
                              |RCC_CLOCKTYPE_PCLK1|RCC_CLOCKTYPE_PCLK2
                              |RCC_CLOCKTYPE_D3PCLK1|RCC_CLOCKTYPE_D1PCLK1;
  RCC_ClkInitStruct.SYSCLKSource = RCC_SYSCLKSOURCE_PLLCLK;
  RCC_ClkInitStruct.SYSCLKDivider = RCC_SYSCLK_DIV1;
  RCC_ClkInitStruct.AHBCLKDivider = RCC_HCLK_DIV2;
  RCC_ClkInitStruct.APB3CLKDivider = RCC_APB3_DIV2;
  RCC_ClkInitStruct.APB1CLKDivider = RCC_APB1_DIV2;
  RCC_ClkInitStruct.APB2CLKDivider = RCC_APB2_DIV2;
  RCC_ClkInitStruct.APB4CLKDivider = RCC_APB4_DIV2;

  if (HAL_RCC_ClockConfig(&RCC_ClkInitStruct, FLASH_LATENCY_4) != HAL_OK)
  {
    Error_Handler();
  }
}

void PeriphCommonClock_Config(void)
{
  RCC_PeriphCLKInitTypeDef PeriphClkInitStruct = {0};

  /** Initializes the peripherals clock
  */
  PeriphClkInitStruct.PeriphClockSelection = RCC_PERIPHCLK_CKPER;
  PeriphClkInitStruct.CkperClockSelection = RCC_CLKPSOURCE_HSI;
  if (HAL_RCCEx_PeriphCLKConfig(&PeriphClkInitStruct) != HAL_OK)
  {
    Error_Handler();
  }
}

/* USER CODE BEGIN 4 */
int fputc(int ch, FILE *f)
{
    HAL_UART_Transmit(&huart3, (uint8_t *)&ch, 1, 1000);
    return ch;
}
uint32_t millis(void)
{
    return sysTickUptime;
}
/* USER CODE END 4 */

 /* MPU Configuration */

void MPU_Config(void)
{
  MPU_Region_InitTypeDef MPU_InitStruct = {0};

  /* Disables the MPU */
  HAL_MPU_Disable();

  /** Initializes and configures the Region and the memory to be protected
  */
  MPU_InitStruct.Enable = MPU_REGION_ENABLE;
  MPU_InitStruct.Number = MPU_REGION_NUMBER0;
  MPU_InitStruct.BaseAddress = 0x0;
  MPU_InitStruct.Size = MPU_REGION_SIZE_4GB;
  MPU_InitStruct.SubRegionDisable = 0x87;
  MPU_InitStruct.TypeExtField = MPU_TEX_LEVEL0;
  MPU_InitStruct.AccessPermission = MPU_REGION_NO_ACCESS;
  MPU_InitStruct.DisableExec = MPU_INSTRUCTION_ACCESS_DISABLE;
  MPU_InitStruct.IsShareable = MPU_ACCESS_SHAREABLE;
  MPU_InitStruct.IsCacheable = MPU_ACCESS_NOT_CACHEABLE;
  MPU_InitStruct.IsBufferable = MPU_ACCESS_NOT_BUFFERABLE;

  HAL_MPU_ConfigRegion(&MPU_InitStruct);
  /* Enables the MPU */
  HAL_MPU_Enable(MPU_PRIVILEGED_DEFAULT);

}

void Error_Handler(void)
{
  __disable_irq();
  while (1)
  {
  }
}
